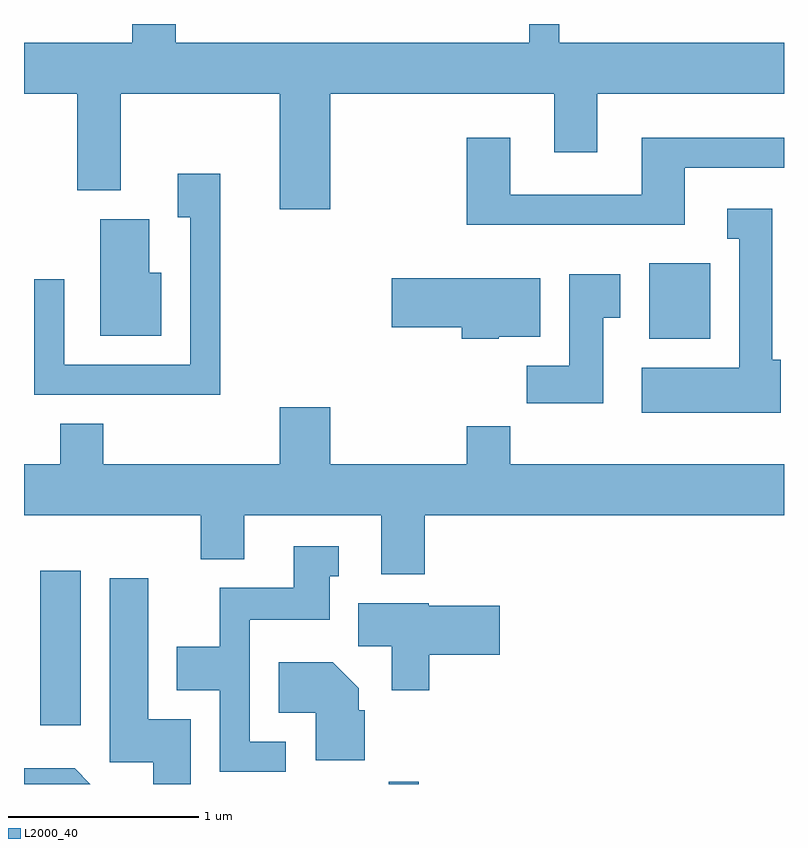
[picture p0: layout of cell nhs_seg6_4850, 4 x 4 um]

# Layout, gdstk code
import gdstk
lib = gdstk.Library(unit=1e-6, precision=1e-09)
def R(c, l, rs):  # rectangles x0, y0, x1, y1
    for r in rs: c.add(gdstk.rectangle(r[:2], r[2:], *l))
def P(c, l, *ps):  # polygons
    for p in ps: c.add(gdstk.Polygon(p, *l))
L2000_40 = (2000, 40)

nhs_seg6_4850 = lib.new_cell('nhs_seg6_4850')
R(nhs_seg6_4850, L2000_40, [(335.531,1564.162,335.689,1564.173), (333.696,1564.471,333.909,1565.284), (336.901,1566.506,337.224,1566.904)])
P(nhs_seg6_4850, L2000_40, [(335.224,1567.796),(336.401,1567.796),(336.401,1567.486),(336.629,1567.486),(336.629,1567.796),(337.611,1567.796),(337.611,1568.064),(336.429,1568.064),(336.429,1568.162),(336.271,1568.162),(336.271,1568.064),(334.409,1568.064),(334.409,1568.162),(334.181,1568.162),(334.181,1568.064),(333.611,1568.064),(333.611,1567.796),(333.891,1567.796),(333.891,1567.286),(334.119,1567.286),(334.119,1567.796),(334.956,1567.796),(334.956,1567.186),(335.224,1567.186)],
  [(337.089,1567.406),(337.611,1567.406),(337.611,1567.564),(336.861,1567.564),(336.861,1567.264),(336.169,1567.264),(336.169,1567.564),(335.941,1567.564),(335.941,1567.106),(337.089,1567.106)],
  [(334.644,1567.374),(334.421,1567.374),(334.421,1567.146),(334.486,1567.146),(334.486,1566.369),(333.824,1566.369),(333.824,1566.818),(333.666,1566.818),(333.666,1566.211),(334.644,1566.211)],
  [(337.594,1566.394),(337.549,1566.394),(337.549,1567.189),(337.313,1567.189),(337.313,1567.031),(337.376,1567.031),(337.376,1566.354),(336.861,1566.354),(336.861,1566.116),(337.594,1566.116)],
  [(334.334,1566.854),(334.269,1566.854),(334.269,1567.134),(334.011,1567.134),(334.011,1566.521),(334.334,1566.521)],
  [(336.659,1566.616),(336.749,1566.616),(336.749,1566.844),(336.481,1566.844),(336.481,1566.364),(336.256,1566.364),(336.256,1566.166),(336.659,1566.166)],
  [(336.11,1566.516),(336.329,1566.516),(336.329,1566.824),(335.546,1566.824),(335.546,1566.566),(335.916,1566.566),(335.916,1566.506),(336.11,1566.506)],
  [(335.719,1565.576),(337.611,1565.576),(337.611,1565.844),(336.169,1565.844),(336.169,1566.044),(335.941,1566.044),(335.941,1565.844),(335.224,1565.844),(335.224,1566.144),(334.956,1566.144),(334.956,1565.844),(334.029,1565.844),(334.029,1566.059),(333.801,1566.059),(333.801,1565.844),(333.611,1565.844),(333.611,1565.576),(334.541,1565.576),(334.541,1565.346),(334.769,1565.346),(334.769,1565.576),(335.491,1565.576),(335.491,1565.266),(335.719,1565.266)],
  [(334.988,1564.384),(334.799,1564.384),(334.799,1565.026),(335.219,1565.026),(335.219,1565.256),(335.268,1565.256),(335.268,1565.414),(335.031,1565.414),(335.031,1565.194),(334.641,1565.194),(334.641,1564.884),(334.416,1564.884),(334.416,1564.656),(334.641,1564.656),(334.641,1564.226),(334.988,1564.226)],
  [(334.489,1564.504),(334.264,1564.504),(334.264,1565.244),(334.061,1565.244),(334.061,1564.276),(334.291,1564.276),(334.291,1564.162),(334.489,1564.162)],
  [(335.744,1564.841),(336.114,1564.841),(336.114,1565.099),(335.74,1565.099),(335.74,1565.114),(335.371,1565.114),(335.371,1564.886),(335.546,1564.886),(335.546,1564.656),(335.744,1564.656)],
  [(335.404,1564.549),(335.374,1564.549),(335.374,1564.667),(335.237,1564.804),(334.951,1564.804),(334.951,1564.536),(335.146,1564.536),(335.146,1564.286),(335.404,1564.286)],
  [(333.877,1564.244),(333.611,1564.244),(333.611,1564.162),(333.959,1564.162)])

lib.write_gds('nhs_seg6_4850.gds')
